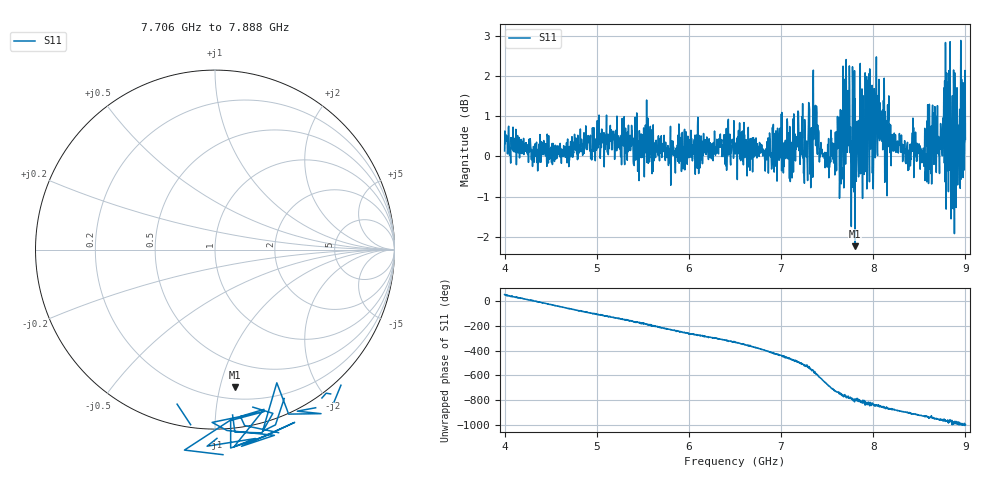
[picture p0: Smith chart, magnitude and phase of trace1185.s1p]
! Created with skrf 1.8.0 (http://scikit-rf.org).
# Hz S RI R 50.0
!freq ReS11 ImS11
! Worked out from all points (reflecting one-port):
!   1601 points, 4 GHz to 9 GHz, reference 50 ohm
!   lowest |S11| = -2.2 dB at 7.8 GHz (marker M1), VSWR 7.83, Z = 14.6 - j55.6 ohm
!   phase of S11 starts at 54 deg and turns -1051 deg over the sweep
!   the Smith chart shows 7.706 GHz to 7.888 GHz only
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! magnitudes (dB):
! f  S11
! 4 GHz  0.1
! 4.625 GHz  0.0
! 5.25 GHz  0.2
! 5.875 GHz  0.3
! 6.5 GHz  0.3
! 7.125 GHz  0.4
! 7.209 GHz  0.6
! 7.266 GHz  0.4
! 7.372 GHz  1.3
! 7.416 GHz  -0.1
! 7.512 GHz  -0.1
! 7.656 GHz  -0.3
! 7.719 GHz  0.1
! 7.75 GHz  0.1
! 7.775 GHz  2.2
! 7.8 GHz  -2.2
! 7.891 GHz  0.6
! 7.909 GHz  0.5
! 7.962 GHz  2.2
! 7.997 GHz  0.9
! 8.05 GHz  1.5
! 8.375 GHz  0.1
! 8.441 GHz  -0.5
! 8.556 GHz  -0.1
! 8.809 GHz  1.6
! 8.856 GHz  0.6
! 8.972 GHz  1.0
! 9 GHz  0.4
